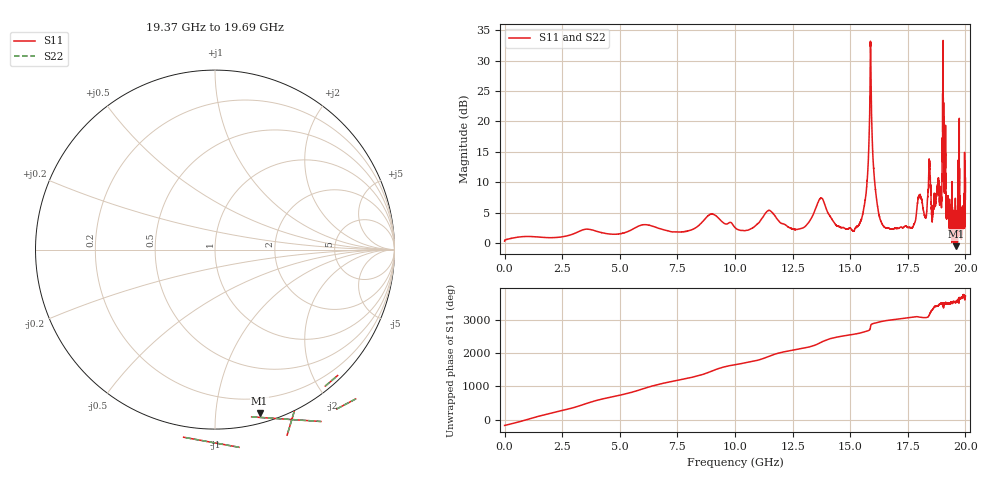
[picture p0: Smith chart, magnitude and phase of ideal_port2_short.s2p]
! Created with skrf (http://scikit-rf.org).
# GHz S RI R 50.0
!freq ReS11 ImS11 ReS21 ImS21 ReS12 ImS12 ReS22 ImS22
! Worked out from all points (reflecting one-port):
!   10001 points, 1 MHz to 20 GHz, reference 50 ohm
!   lowest |S11| = -0.5 dB at 19.58 GHz (marker M1), VSWR 34.02, Z = 3.99 - j65.3 ohm
!   phase of S11 starts at -178 deg and turns +3890 deg over the sweep
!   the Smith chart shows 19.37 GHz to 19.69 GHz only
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0.001  -1.035 -0.0304  0 0  0 0  -1.035 -0.0304
3.334833  0.4299 1.197  0 0  0 0  0.4299 1.197
5.926704  -1.401 -0.1016  0 0  0 0  -1.401 -0.1016
6.668667  1.183 -0.5978  0 0  0 0  1.183 -0.5978
8.126594  -1.278 -0.1504  0 0  0 0  -1.278 -0.1504
8.966552  1.726 0.1621  0 0  0 0  1.726 0.1621
10.0005  -1.224 -0.5458  0 0  0 0  -1.224 -0.5458
13.33433  1.238 1.057  0 0  0 0  1.238 1.057
13.78631  -2.316 0.1558  0 0  0 0  -2.316 0.1558
15.38023  0.4929 1.331  0 0  0 0  0.4929 1.331
15.68822  -1.471 2.093  0 0  0 0  -1.471 2.093
15.78221  -3.993 2.278  0 0  0 0  -3.993 2.278
15.82421  -7.596 1.832  0 0  0 0  -7.596 1.832
15.9502  7.728 -1.146  0 0  0 0  7.728 -1.146
15.9842  5.195 -0.1186  0 0  0 0  5.195 -0.1186
16.0562  3.186 0.7555  0 0  0 0  3.186 0.7555
16.66817  -0.2639 1.303  0 0  0 0  -0.2639 1.303
18.40008  -2.648 -1.79  0 0  0 0  -2.648 -1.79
18.65007  -1.543 1.636  0 0  0 0  -1.543 1.636
19.04205  -4.09 -5.575  0 0  0 0  -4.09 -5.575
19.57802  0.2485 -0.9096  0 0  0 0  0.2485 -0.9096
20  -0.9631 2.454  0 0  0 0  -0.9631 2.454
